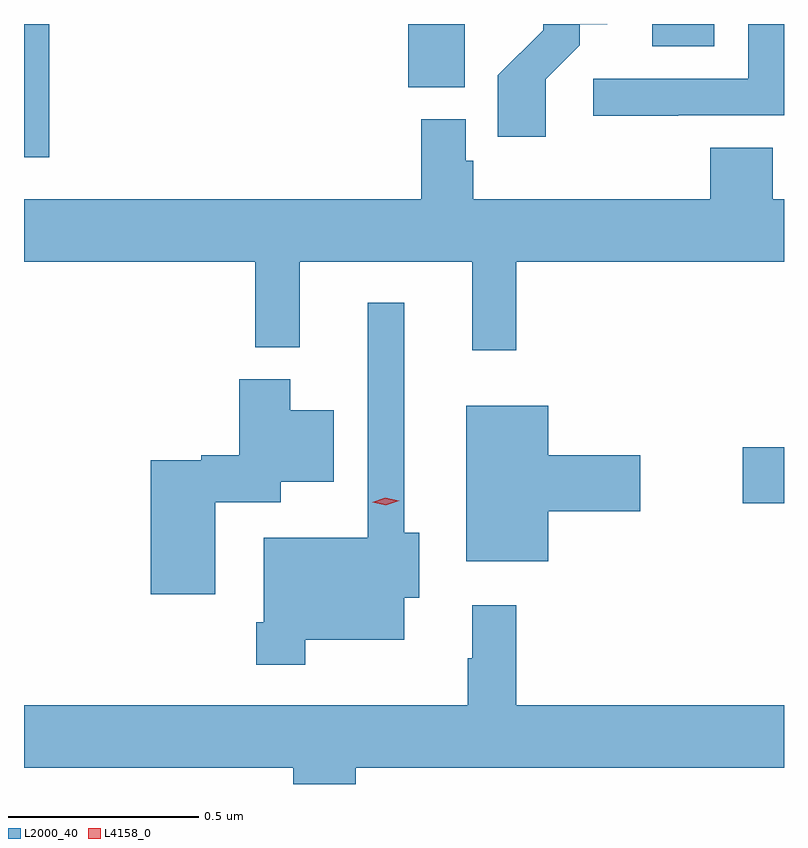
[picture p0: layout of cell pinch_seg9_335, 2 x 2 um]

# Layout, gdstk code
import gdstk
lib = gdstk.Library(unit=1e-6, precision=1e-09)
def R(c, l, rs):  # rectangles x0, y0, x1, y1
    for r in rs: c.add(gdstk.rectangle(r[:2], r[2:], *l))
def P(c, l, *ps):  # polygons
    for p in ps: c.add(gdstk.Polygon(p, *l))
L2000_40 = (2000, 40)
L4158_0 = (4158, 0)

pinch_seg9_335 = lib.new_cell('pinch_seg9_335')
R(pinch_seg9_335, L2000_40, [(600.234,1186.46,600.343,1186.607), (598.343,1187.37,598.409,1187.721), (599.354,1187.555,599.503,1187.721), (599.996,1187.662,600.16,1187.721)])
P(pinch_seg9_335, L2000_40, [(599.716,1187.575),(599.806,1187.665),(599.806,1187.72),(599.878,1187.72),(599.878,1187.721),(599.709,1187.721),(599.709,1187.705),(599.59,1187.586),(599.59,1187.424),(599.716,1187.424)],
  [(600.065,1187.481),(600.343,1187.481),(600.343,1187.721),(600.249,1187.721),(600.249,1187.577),(599.841,1187.577),(599.841,1187.479),(600.065,1187.479)],
  [(599.639,1187.096),(600.343,1187.096),(600.343,1187.26),(600.314,1187.26),(600.314,1187.396),(600.149,1187.396),(600.149,1187.26),(599.525,1187.26),(599.525,1187.361),(599.505,1187.361),(599.505,1187.47),(599.389,1187.47),(599.389,1187.26),(598.343,1187.26),(598.343,1187.096),(598.951,1187.096),(598.951,1186.871),(599.069,1186.871),(599.069,1187.096),(599.522,1187.096),(599.522,1186.863),(599.639,1186.863)],
  [(599.083,1186.1),(599.344,1186.1),(599.344,1186.211),(599.383,1186.211),(599.383,1186.382),(599.344,1186.382),(599.344,1186.987),(599.247,1186.987),(599.247,1186.369),(598.974,1186.369),(598.974,1186.147),(598.954,1186.147),(598.954,1186.035),(599.083,1186.035)],
  [(598.846,1186.463),(599.019,1186.463),(599.019,1186.517),(599.158,1186.517),(599.158,1186.705),(599.044,1186.705),(599.044,1186.786),(598.91,1186.786),(598.91,1186.586),(598.809,1186.586),(598.809,1186.573),(598.676,1186.573),(598.676,1186.221),(598.846,1186.221)],
  [(599.722,1186.439),(599.965,1186.439),(599.965,1186.586),(599.722,1186.586),(599.722,1186.717),(599.507,1186.717),(599.507,1186.307),(599.722,1186.307)],
  [(599.216,1185.764),(600.343,1185.764),(600.343,1185.928),(599.639,1185.928),(599.639,1186.192),(599.522,1186.192),(599.522,1186.052),(599.511,1186.052),(599.511,1185.928),(598.343,1185.928),(598.343,1185.764),(599.051,1185.764),(599.051,1185.721),(599.216,1185.721)])
P(pinch_seg9_335, L4158_0, [(599.295,1186.454),(599.259,1186.462),(599.258,1186.463),(599.259,1186.463),(599.294,1186.474),(599.33,1186.466),(599.33,1186.466),(599.33,1186.466)])

lib.write_gds('pinch_seg9_335.gds')
